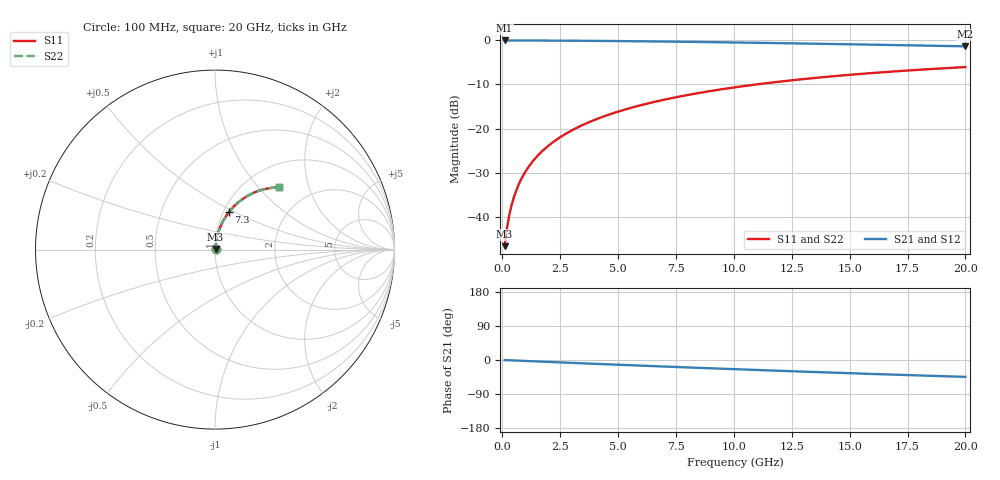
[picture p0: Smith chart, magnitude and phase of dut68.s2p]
! Touchstone file exported from HFSS 2026.1.0
!  File:  C:/ffzhzh/LocalFiles/Ansys_Project_Files/temp_train_BSMRDL_68_1782882850_43084.aedt
!  Generated:  01:15:27 PM Jul  1, 2026
!  Design:  BSMRDL
!  Project:  temp_train_BSMRDL_68_1782882850_43084
! Variables:
!  h_bsmrdl = 5.61um
!  h_ox = 20um
!  h_rdl = 5um
!  h_sub = 80um
!  h_tmrdl = 5um
!  h_tsv = 80um
!  h_via = 3um
!  l_bsmrdl = 593.88um
!  l_sub = 993.88um
!  l_tmrdl = 200um
!  m_sub = 200um
!  pitch = 51.59um
!  r_tsv = 6um
!  s_tmrdl = 10um
!  w_bsmrdl = 11.62um
!  w_sub = 500um
!  w_tmrdl = 12um
!  x_tsv_center1 = 206um
!  x_tsv_center2 = 811.5um
!  x_tsv_center3 = 1023.5um
!  x_tsv_center4 = 1629um
!  x_tsv_center5 = 1841um
!  x_tsv_center6 = 2446.5um
# GHz S MA R 50.000000
! Terminal data exported
! Port[1] = BSM_RDL1_1_T1
! Port[2] = BSM_RDL1_1_T2
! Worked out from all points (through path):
!   200 points, 100 MHz to 20 GHz, reference 50 ohm
!   highest |S21| = -0.03 dB at 100 MHz (marker M1); lowest = -1.4 dB at 20 GHz (marker M2)
!   group delay of S21, straight-line fit = 6.19 ps
!   lowest |S11| = -46.7 dB at 100 MHz (marker M3), VSWR 1.01, Z = 50.3 + j0.332 ohm
!   |S11| at or under -10 dB: start of sweep to 10.97 GHz
!   |S22| runs from -46.7 to -6.1 dB; largest |S21 - S12| = 4.4e-15
!   S11 on the Smith chart (normalised r, x): 100 MHz: 1.01, +0.01; 7.3 GHz: 1.06, +0.46; 20 GHz: 1.41, +1.30
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0.1  0.004647 45.2  0.9967 -0.3  0.9967 -0.3  0.004647 45.2
! Gamma 0 0 0 0
! Port Impedance 50 0 50 0
0.2  0.007383 62.7  0.9967 -0.5  0.9967 -0.5  0.007383 62.7
0.3  0.01041 70.2  0.9966 -0.8  0.9966 -0.8  0.01041 70.2
0.4  0.01352 74.1  0.9965 -1.0  0.9965 -1.0  0.01352 74.1
0.5  0.01665 76.5  0.9963 -1.3  0.9963 -1.3  0.01665 76.5
0.6  0.01981 78.1  0.9962 -1.5  0.9962 -1.5  0.01981 78.1
0.8  0.02614 79.9  0.996 -2.1  0.996 -2.1  0.02614 79.9
1.1  0.03567 81.0  0.9956 -2.8  0.9956 -2.8  0.03567 81.0
1.5  0.04837 81.4  0.9948 -3.8  0.9948 -3.8  0.04837 81.4
1.8  0.05786 81.2  0.9941 -4.6  0.9941 -4.6  0.05786 81.2
2.1  0.06731 80.9  0.9933 -5.4  0.9933 -5.4  0.06731 80.9
2.7  0.08605 79.9  0.9914 -6.9  0.9914 -6.9  0.08605 79.9
3.5  0.1107 78.2  0.9882 -8.8  0.9882 -8.8  0.1107 78.2
4.2  0.1318 76.7  0.985 -10.6  0.985 -10.6  0.1318 76.7
5  0.1556 74.9  0.9809 -12.5  0.9809 -12.5  0.1556 74.9
6.8  0.2071 70.9  0.9701 -16.8  0.9701 -16.8  0.2071 70.9
7.3  0.221 69.8  0.9667 -18.0  0.9667 -18.0  0.221 69.8
8.6  0.2561 66.9  0.9574 -21.0  0.9574 -21.0  0.2561 66.9
10.1  0.2947 63.6  0.9456 -24.4  0.9456 -24.4  0.2947 63.7
13.4  0.3725 56.7  0.917 -31.6  0.917 -31.6  0.3725 56.8
16.7  0.4401 50.2  0.8863 -38.3  0.8863 -38.3  0.4401 50.2
20  0.4975 44.1  0.8554 -44.5  0.8554 -44.5  0.4975 44.1
